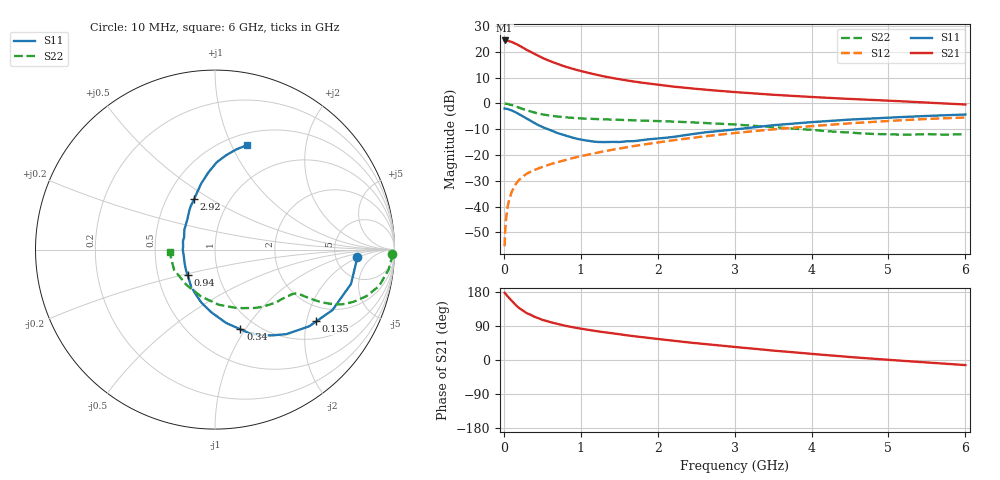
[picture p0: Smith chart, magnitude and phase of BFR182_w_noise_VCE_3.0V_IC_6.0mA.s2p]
! Infineon Technologies  Discrete & RF Semiconductors
! BFR182
! VCE =  3.0 V,  IC =  6.0 mA
! Common Emitter S-Parameters:  Nov 2015
# GHz  S  MA  R  50
!  f  S11  S21  S12  S22
! GHz  MAG  ANG  MAG  ANG  MAG  ANG  MAG  ANG
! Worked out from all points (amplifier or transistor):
!   210 points, 10 MHz to 6 GHz, reference 50 ohm
!   highest |S21| = 24.4 dB at 10 MHz (marker M1)
!   |S21| within 3 dB of that: start of sweep to 259 MHz
!   unconditionally stable (mu >= 1): 981.4 MHz to 2.758 GHz
!   at 185 MHz: K = 0.38, MSG = 26.4 dB, |S12| = -30.1 dB
!   at 1.52 GHz: K = 1.05, MAG = 11.9 dB, |S12| = -17.4 dB
!   at 6 GHz: K = 0.88, MSG = 2.5 dB, |S12| = -5.5 dB
!   lowest NFmin = 1.20 dB at 450 MHz
!   S11 on the Smith chart (normalised r, x): 10 MHz: 8.34, -1.82; 135 MHz: 1.49, -2.29; 340 MHz: 0.84, -0.95; 940 MHz: 0.71, -0.21; 2.92 GHz: 0.69, +0.42; 6 GHz: 0.62, +1.15
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0.01  0.7947 -2.9  16.67 177.5  0.0017 87.8  0.9889 -1.3
0.02  0.7896 -5.4  16.42 174.9  0.0039 80.8  0.9858 -2.7
0.05  0.7815 -14.2  16.53 167.7  0.01 82.7  0.9738 -6.6
0.1  0.7363 -27.2  15.68 156.6  0.0189 76.8  0.9374 -12.4
0.135  0.6916 -35.3  14.8 149.0  0.0243 72.8  0.8985 -15.6
0.15  0.6771 -39.1  14.51 145.5  0.0266 71.6  0.8828 -17.1
0.2  0.6167 -49.8  13.31 137.0  0.033 67.5  0.8257 -20.6
0.28  0.5275 -63.7  11.32 126.0  0.0414 64.3  0.7505 -24.0
0.34  0.4665 -72.3  10.14 120.0  0.0466 63.0  0.7047 -25.3
0.4  0.4133 -81.4  9.104 113.9  0.0513 61.8  0.6618 -26.4
0.5  0.3492 -93.5  7.64 106.0  0.0585 62.0  0.6118 -27.0
0.6  0.3055 -104.3  6.615 100.1  0.0659 62.1  0.5805 -27.4
0.76  0.2492 -120.5  5.427 92.2  0.077 62.4  0.5449 -27.7
0.94  0.2082 -137.2  4.495 84.8  0.0903 63.1  0.5192 -28.2
1.02  0.1965 -145.6  4.186 82.1  0.0961 63.5  0.5105 -28.6
1.4  0.1799 -179.4  3.13 70.7  0.125 63.8  0.4861 -31.8
2.02  0.2098 142.2  2.284 55.1  0.1769 61.8  0.4552 -39.2
2.92  0.3039 112.5  1.698 35.9  0.2585 55.8  0.3963 -54.8
3.1  0.3248 108.7  1.621 32.5  0.2755 54.1  0.3807 -58.8
4.1  0.4436 93.4  1.31 14.5  0.3719 43.8  0.2981 -89.7
5.1  0.5388 82.0  1.113 -1.0  0.4656 31.6  0.2496 -134.1
6  0.6096 72.8  0.954 -13.4  0.5331 18.8  0.2538 -177.1
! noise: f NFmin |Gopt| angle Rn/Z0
0.45  1.2  0.27  37  0.3
0.9  1.3  0.25  75  0.23
1.8  1.9  0.21  145  0.2
